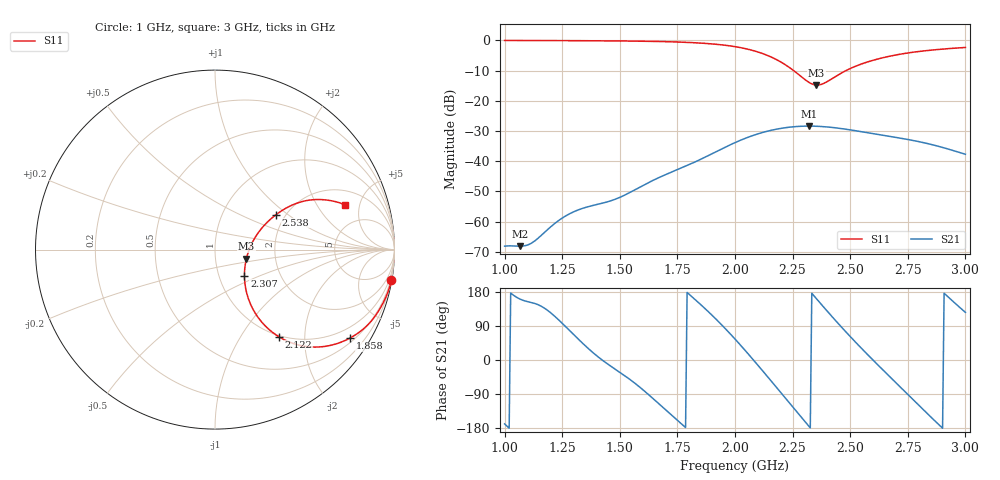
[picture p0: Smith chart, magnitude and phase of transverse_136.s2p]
! TOUCHSTONE file generated by CST MICROWAVE STUDIO
! Date and time: Tue Mar 11 13:57:06 2025
! Project name: transverse.cst
! Parameters = {Fracture=5; B=12.5; D=160; F=25; Feed=2.85625; L=100; M=10; R=0.384908; S=2; Theta=90; length=57.125; wave=114.25}
! Header version: 2024
! Port assignment regex: !\s*Touchstone port\s*([0-9]+)\s*=\s*(CST MWS port|CST DES external port|CST DES block port)\s*(.+)\s* \(\"(.*)\"\)(\s*mode\s*([0-9]+))?.*
! Touchstone port assignment:
! Touchstone port 1 = CST MWS port 1 ("")
! Touchstone port 2 = CST MWS port 2 ("")
# GHz S MA R 50
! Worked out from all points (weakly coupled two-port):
!   304 points, 1 GHz to 3 GHz, reference 50 ohm
!   highest |S21| = -28.39 dB at 2.32 GHz (marker M1); lowest = -68.2 dB at 1.066 GHz (marker M2)
!   lowest |S11| = -14.8 dB at 2.353 GHz (marker M3), VSWR 1.44, Z = 70.7 - j7.45 ohm
!   |S11| at or under -10 dB: 2.255 GHz to 2.482 GHz (227.2 MHz wide, 9.59 % of centre)
!   S12 and S22 are empty: the file has one direction only
!   S11 on the Smith chart (normalised r, x): 1 GHz: 0, -12; 1.858 GHz: 0.63, -3.23; 2.122 GHz: 0.98, -1.49; 2.307 GHz: 1.32, -0.41; 2.538 GHz: 1.79, +0.83; 3 GHz: 2.97, +3.57
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1  0.9978 -9.8  0.0003905 -168.5  0 0.0  0 0.0
1.06601  0.9968 -10.7  0.0003904 160.9  0 0.0  0 0.0
1.11881  0.9959 -11.4  0.0004431 151.3  0 0.0  0 0.0
1.24422  0.9926 -13.5  0.001102 100.3  0 0.0  0 0.0
1.33663  0.9888 -15.2  0.001643 45.2  0 0.0  0 0.0
1.48845  0.9798 -18.6  0.002406 -27.7  0 0.0  0 0.0
1.66667  0.9598 -24.1  0.005273 -113.9  0 0.0  0 0.0
1.85809  0.8988 -33.3  0.01105 142.3  0 0.0  0 0.0
2.0033  0.7846 -43.8  0.02054 53.1  0 0.0  0 0.0
2.06271  0.7045 -48.9  0.02537 12.3  0 0.0  0 0.0
2.12211  0.6008 -53.8  0.03002 -30.1  0 0.0  0 0.0
2.21452  0.4041 -57.6  0.03563 -97.5  0 0.0  0 0.0
2.30693  0.2196 -41.7  0.038 -164.9  0 0.0  0 0.0
2.32013  0.2027 -35.6  0.03804 -174.4  0 0.0  0 0.0
2.33993  0.1862 -24.5  0.03797 171.4  0 0.0  0 0.0
2.35314  0.182 -16.3  0.03783 162.0  0 0.0  0 0.0
2.38614  0.1945 2.9  0.03721 138.7  0 0.0  0 0.0
2.47195  0.3025 26.0  0.0342 80.3  0 0.0  0 0.0
2.53795  0.3925 29.8  0.03122 37.7  0 0.0  0 0.0
2.66997  0.5459 29.1  0.02574 -43.0  0 0.0  0 0.0
2.83498  0.6797 24.0  0.01958 -141.6  0 0.0  0 0.0
3  0.764 19.1  0.013 125.7  0 0.0  0 0.0
